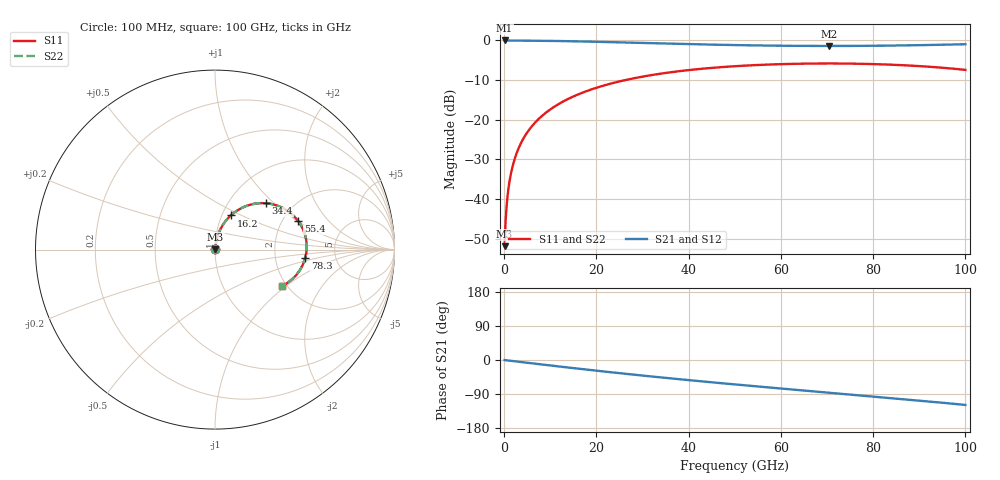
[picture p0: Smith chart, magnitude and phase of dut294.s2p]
! Touchstone file exported from HFSS 2026.1.0
!  File:  C:/ffzhzh/LocalFiles/Ansys_Project_Files/temp_train_RDL_294_1783502263_41296.aedt
!  Generated:  05:18:56 PM Jul  8, 2026
!  Design:  RDL
!  Project:  temp_train_RDL_294_1783502263_41296
! Variables:
!  h_bsmrdl = 2um
!  h_ox = 20um
!  h_rdl = 5um
!  h_sub = 80um
!  h_tmrdl = 2.9um
!  h_tsv = 80um
!  h_via = 3um
!  l_bsmrdl = 300um
!  l_sub = 788.94um
!  l_tmrdl = 388.94um
!  m_sub = 200um
!  pitch = 53.35um
!  r_tsv = 6um
!  s_tmrdl = 10um
!  w_bsmrdl = 18um
!  w_sub = 500um
!  w_tmrdl = 27.93um
!  x_tsv_center1 = 402.905um
!  x_tsv_center2 = 720.905um
!  x_tsv_center3 = 1137.775um
!  x_tsv_center4 = 1455.775um
!  x_tsv_center5 = 1872.645um
!  x_tsv_center6 = 2190.645um
# GHz S MA R 50.000000
! Terminal data exported
! Port[1] = TM_RDL1_1_T1
! Port[2] = TM_RDL1_1_T2
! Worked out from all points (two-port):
!   1000 points, 100 MHz to 100 GHz, reference 50 ohm
!   highest |S21| = -0.02 dB at 100 MHz (marker M1); lowest = -1.4 dB at 70.5 GHz (marker M2)
!   |S21| within 3 dB of the highest: start of sweep to end of sweep
!   lowest |S11| = -51.9 dB at 100 MHz (marker M3), VSWR 1.01, Z = 50.2 + j0.157 ohm
!   |S11| at or under -10 dB: start of sweep to 26.34 GHz
!   |S22| runs from -51.9 to -5.8 dB; largest |S21 - S12| = 1.7e-14
!   S11 on the Smith chart (normalised r, x): 100 MHz: 1.00, +0.00; 16.2 GHz: 1.10, +0.44; 34.4 GHz: 1.47, +0.89; 55.4 GHz: 2.44, +1.01; 78.3 GHz: 2.99, -0.36; 100 GHz: 1.88, -0.93
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0.1  0.002532 38.2  0.998 -0.2  0.998 -0.2  0.002532 38.2
! Gamma 0 0 0 0
! Port Impedance 50 0 50 0
0.9  0.01304 77.2  0.9973 -1.3  0.9973 -1.3  0.01304 77.2
1.2  0.01709 79.2  0.9972 -1.8  0.9972 -1.8  0.01709 79.2
1.5  0.02118 80.4  0.997 -2.2  0.997 -2.2  0.02118 80.4
2  0.02802 81.3  0.9968 -2.9  0.9968 -2.9  0.02802 81.3
2.5  0.03487 81.5  0.9965 -3.7  0.9965 -3.7  0.03487 81.6
4  0.05535 80.8  0.9952 -5.8  0.9952 -5.8  0.05535 80.8
6.1  0.08364 78.5  0.9927 -8.9  0.9927 -8.9  0.08364 78.5
8.7  0.1178 75.1  0.9884 -12.6  0.9884 -12.6  0.1178 75.2
12.1  0.1608 70.6  0.9813 -17.4  0.9813 -17.4  0.1608 70.6
16.2  0.2099 65.1  0.9711 -23.0  0.9711 -23.0  0.2099 65.2
16.8  0.2168 64.3  0.9694 -23.9  0.9694 -23.9  0.2168 64.4
24.2  0.2957 54.8  0.9474 -33.7  0.9474 -33.7  0.2957 54.8
33.4  0.3764 43.4  0.9179 -45.3  0.9179 -45.3  0.3764 43.5
34.4  0.3839 42.2  0.9148 -46.5  0.9148 -46.5  0.384 42.4
50.1  0.4726 24.4  0.8723 -64.5  0.8723 -64.5  0.4726 24.6
55.4  0.4905 18.8  0.8625 -70.3  0.8625 -70.3  0.4906 18.9
66.7  0.5103 6.9  0.851 -82.3  0.851 -82.3  0.5103 7.2
70.5  0.5114 3.0  0.8502 -86.3  0.8502 -86.3  0.5115 3.2
78.3  0.5053 -5.1  0.8535 -94.5  0.8535 -94.5  0.5054 -4.8
83.4  0.495 -10.4  0.8591 -99.9  0.8591 -99.9  0.4951 -10.2
100  0.4243 -28.7  0.894 -118.6  0.894 -118.6  0.4244 -28.4
